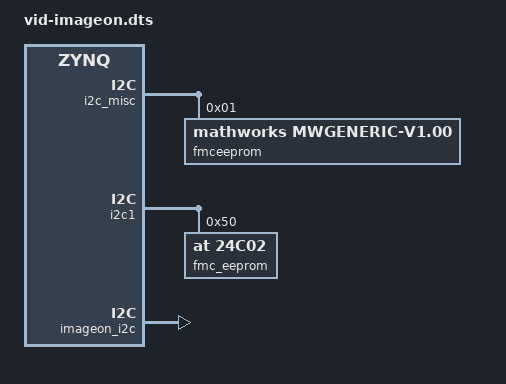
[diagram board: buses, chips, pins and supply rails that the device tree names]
#include "base.dtsi"
#include "vid-common.dtsi"
/{
    i2c_misc {
        fmceeprom {
            compatible = "mathworks,mwgeneric-v1.00";
            reg = <0x1>;    
            mwgen,type = "nomem";            
	        mwgen,devname = "fmceeprom";        
            i2c-controller = <&fmc_eeprom>;
            
        }; 
    };
};

&i2c1{
    status = "okay";
    
    fmc_eeprom: eeprom@50 {
		compatible = "at,24c02";
		reg = <0x50>;
	};
};

&axi{   			
	imageon_i2c: i2c@41600000 {
		compatible = "xlnx,axi-iic-1.02.a", "xlnx,xps-iic-2.00.a";
		interrupt-parent = <&gic>;
		interrupts = <0 59 4>;
		reg = <0x41600000 0x10000>;
		#address-cells = <1>;
		#size-cells = <0>;

	};
};

#include "zynq-mw-vid-imageon.dtsi"
